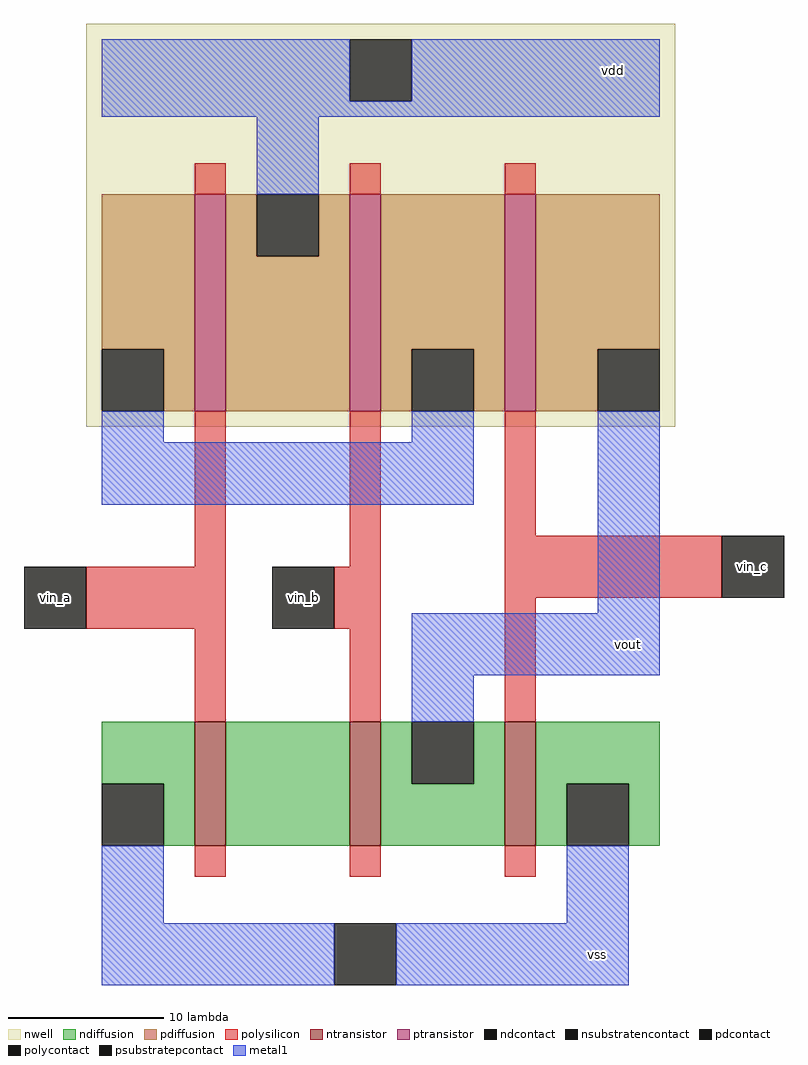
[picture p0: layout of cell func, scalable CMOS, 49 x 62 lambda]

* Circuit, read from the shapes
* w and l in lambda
.subckt func vdd vin_a vin_b vin_c vout vss
M1 n1 vin_a vss vss nfet w=8 l=2
M2 vout vin_b n1 vss nfet w=8 l=2
M3 vss vin_c vout vss nfet w=8 l=2
M4 vdd vin_a n2 vdd pfet w=14 l=2
M5 n2 vin_b vdd vdd pfet w=14 l=2
M6 vout vin_c n2 vdd pfet w=14 l=2
.ends

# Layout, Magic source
magic
tech scmos
<< nwell >>
rect -9 14 29 40
<< polysilicon >>
rect -2 29 0 31
rect 8 29 10 31
rect 18 29 20 31
rect -2 5 0 15
rect 8 5 10 15
rect -9 1 0 5
rect 7 1 10 5
rect -2 -5 0 1
rect 8 -5 10 1
rect 18 7 20 15
rect 18 3 32 7
rect 18 -5 20 3
rect -2 -15 0 -13
rect 8 -15 10 -13
rect 18 -15 20 -13
<< ndiffusion >>
rect -8 -9 -2 -5
rect -4 -13 -2 -9
rect 0 -13 8 -5
rect 10 -9 12 -5
rect 16 -9 18 -5
rect 10 -13 18 -9
rect 20 -9 28 -5
rect 20 -13 22 -9
rect 26 -13 28 -9
<< pdiffusion >>
rect -8 19 -2 29
rect -4 15 -2 19
rect 0 25 2 29
rect 6 25 8 29
rect 0 15 8 25
rect 10 19 18 29
rect 10 15 12 19
rect 16 15 18 19
rect 20 19 28 29
rect 20 15 24 19
<< metal1 >>
rect -8 35 8 39
rect 12 35 28 39
rect -8 34 28 35
rect 2 29 6 34
rect -8 13 -4 15
rect 12 13 16 15
rect -8 9 16 13
rect 24 2 28 15
rect 12 -2 28 2
rect 12 -5 16 -2
rect -8 -18 -4 -13
rect 22 -18 26 -13
rect -8 -22 7 -18
rect 11 -22 26 -18
<< ntransistor >>
rect -2 -13 0 -5
rect 8 -13 10 -5
rect 18 -13 20 -5
<< ptransistor >>
rect -2 15 0 29
rect 8 15 10 29
rect 18 15 20 29
<< polycontact >>
rect -13 1 -9 5
rect 3 1 7 5
rect 32 3 36 7
<< ndcontact >>
rect -8 -13 -4 -9
rect 12 -9 16 -5
rect 22 -13 26 -9
<< pdcontact >>
rect -8 15 -4 19
rect 2 25 6 29
rect 12 15 16 19
rect 24 15 28 19
<< psubstratepcontact >>
rect 7 -22 11 -18
<< nsubstratencontact >>
rect 8 35 12 39
<< labels >>
rlabel metal1 23 35 27 39 1 vdd
rlabel metal1 22 -22 26 -18 5 vss
rlabel polycontact -13 1 -9 5 7 vin_a
rlabel polycontact 3 1 7 5 7 vin_b
rlabel polycontact 32 3 36 7 3 vin_c
rlabel metal1 24 -2 28 2 3 vout
<< end >>
